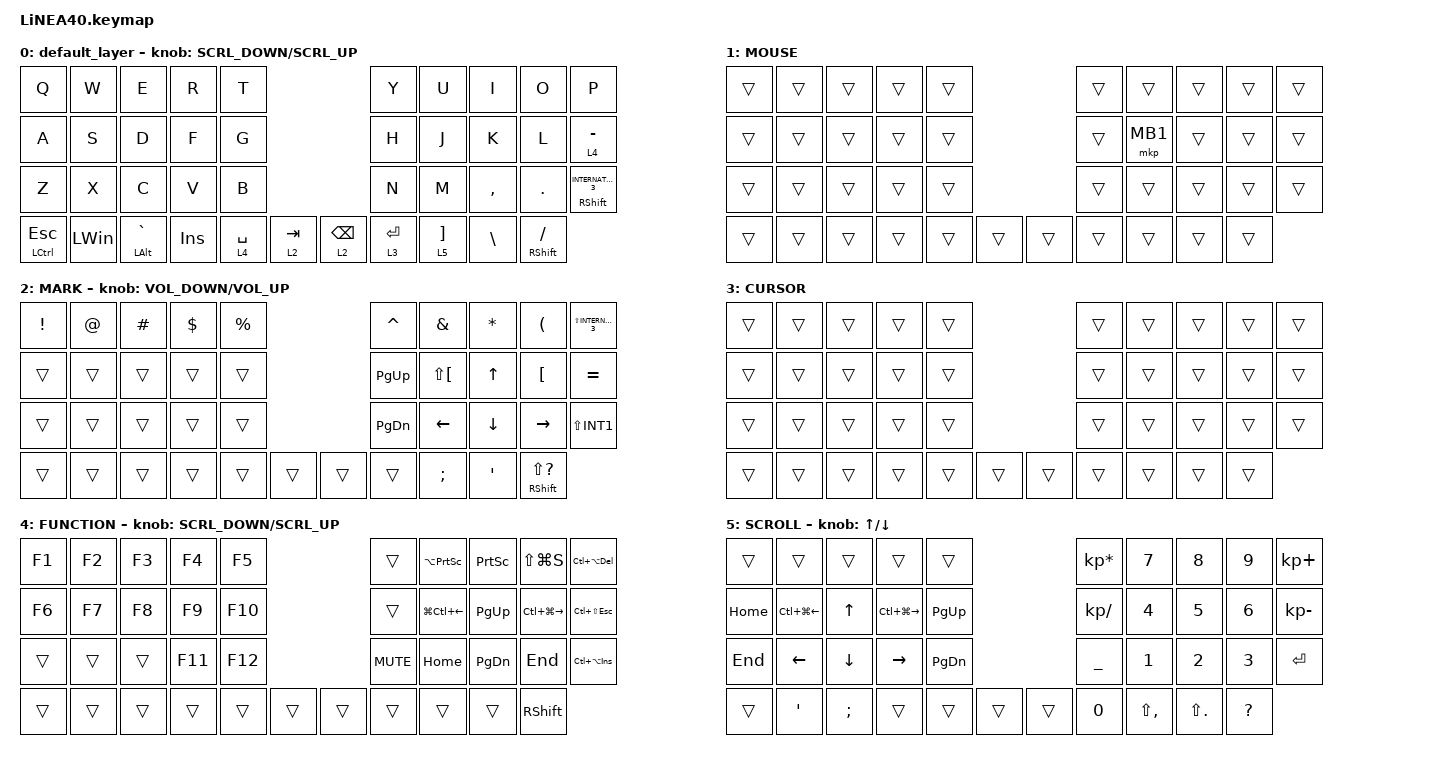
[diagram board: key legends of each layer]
#define ZMK_POINTING_DEFAULT_SCRL_VAL 150

#include <dt-bindings/zmk/input_transform.h>
#include <input/processors.dtsi>
#include <zephyr/dt-bindings/input/input-event-codes.h>
#include <behaviors.dtsi>
#include <dt-bindings/zmk/keys.h>
#include <dt-bindings/zmk/pointing.h>

#define MOUSE 1
#define MARK 2
#define CURSOR 3
#define FUNCTION 4
#define SCROLL 5
#define WIRELESS 6

//mouse cursol

&mmv {
    delay-ms = <20>;
    trigger-period-ms = <5>;
    time-to-max-speed-ms = <100>;
    acceleration-exponent = <2>;
};

//mouse scroll

&msc {
    delay-ms = <3>;
    trigger-period-ms = <3>;
    time-to-max-speed-ms = <100>;
    acceleration-exponent = <0>;
};

/ {
    input_processors {
        zip_wheel_scaler: zip_wheel_scaler {
            compatible = "zmk,input-processor-scaler";
            #input-processor-cells = <2>;
            type = <INPUT_EV_REL>;
            codes = <INPUT_REL_WHEEL>;
            track-remainders;
        };
    };
};

&msc_input_listener {
    speed_up {
        layers = <FUNCTION>;
        input-processors = <&zip_wheel_scaler 3 1>; //スクロールを3倍速にする
    };
};

&trackball_listener {
    scroller {
        layers = <SCROLL>;
        input-processors =
            <&zip_xy_transform INPUT_TRANSFORM_Y_INVERT>,
            //スクロール方向を逆転,,,,,,,,,,
            <&zip_xy_to_scroll_mapper>;
    };
};

/ {
    combos {
        compatible = "zmk,combos";

        ZenkakuHankaku {
            bindings = <&kp GRAVE>;
            key-positions = <11 12>;
        };

        DeleteKey {
            bindings = <&kp DEL>;
            key-positions = <7 8>;
        };

        InsertKey {
            bindings = <&kp INS>;
            key-positions = <6 7>;
        };

        CenterClick {
            bindings = <&mkp MB3>;
            key-positions = <17 16>;
        };

        RightClick {
            bindings = <&mkp MB2>;
            key-positions = <18 17>;
        };

        PrevClick {
            bindings = <&mkp MB4>;
            key-positions = <27 28>;
        };

        ClickNext {
            bindings = <&mkp MB5>;
            key-positions = <26 27>;
        };
    };

    behaviors {
        re_kp: sensor_rotate_kp {
            compatible = "zmk,behavior-sensor-rotate-var";
            #sensor-binding-cells = <2>;
            bindings = <&kp>, <&kp>;
        };

        mouse_scrl: mouse_wheel_scrl {
            compatible = "zmk,behavior-sensor-rotate-var";
            #sensor-binding-cells = <2>;
            bindings = <&msc>, <&msc>;

            tap-ms = <20>;
        };
    };

    keymap {
        compatible = "zmk,keymap";

        default_layer {
            bindings = <
&kp Q          &kp W         &kp E               &kp R    &kp T                                      &kp Y        &kp U  &kp I                &kp O          &kp P
&kp A          &kp S         &kp D               &kp F    &kp G                                      &kp H        &kp J  &kp K                &kp L          &lt 4 MINUS
&kp Z          &kp X         &kp C               &kp V    &kp B                                      &kp N        &kp M  &kp COMMA            &kp DOT        &mt RIGHT_SHIFT INTERNATIONAL_3
&mt LCTRL ESC  &kp LEFT_WIN  &mt LEFT_ALT GRAVE  &kp INS  &lt 4 SPACE  &lt 2 TAB    &lt 2 BACKSPACE  &lt 3 ENTER         &lt 5 RIGHT_BRACKET  &kp BACKSLASH  &mt RIGHT_SHIFT SLASH
            >;

            sensor-bindings = <&mouse_scrl SCRL_DOWN SCRL_UP>;
        };

        MOUSE {
            bindings = <
&trans  &trans  &trans  &trans  &trans                    &trans  &trans    &trans  &trans  &trans
&trans  &trans  &trans  &trans  &trans                    &trans  &mkp MB1  &trans  &trans  &trans
&trans  &trans  &trans  &trans  &trans                    &trans  &trans    &trans  &trans  &trans
&trans  &trans  &trans  &trans  &trans  &trans    &trans  &trans            &trans  &trans  &trans
            >;
        };

        MARK {
            bindings = <
&kp EXCLAMATION  &kp AT  &kp HASH  &kp DOLLAR  &kp PERCENT                    &kp CARET      &kp AMPERSAND   &kp ASTERISK   &kp LEFT_PARENTHESIS  &kp LS(INTERNATIONAL_3)
&trans           &trans  &trans    &trans      &trans                         &kp PG_UP      &kp LS(LBKT)    &kp UP_ARROW   &kp LEFT_BRACKET      &kp EQUAL
&trans           &trans  &trans    &trans      &trans                         &kp PAGE_DOWN  &kp LEFT_ARROW  &kp DOWN       &kp RIGHT             &kp LS(INT1)
&trans           &trans  &trans    &trans      &trans       &trans    &trans  &trans                         &kp SEMICOLON  &kp SQT               &mt RIGHT_SHIFT LS(QUESTION)
            >;

            sensor-bindings = <&re_kp C_VOLUME_DOWN C_VOLUME_UP>;
        };

        CURSOR {
            bindings = <
&trans  &trans  &trans  &trans  &trans                    &trans  &trans  &trans  &trans  &trans
&trans  &trans  &trans  &trans  &trans                    &trans  &trans  &trans  &trans  &trans
&trans  &trans  &trans  &trans  &trans                    &trans  &trans  &trans  &trans  &trans
&trans  &trans  &trans  &trans  &trans  &trans    &trans  &trans          &trans  &trans  &trans
            >;
        };

        FUNCTION {
            bindings = <
&kp F1  &kp F2  &kp F3  &kp F4   &kp F5                     &trans      &kp LA(PRINTSCREEN)  &kp PRINTSCREEN  &kp LS(LG(S))      &kp LC(LA(DELETE))
&kp F6  &kp F7  &kp F8  &kp F9   &kp F10                    &trans      &kp LG(LC(LEFT))     &kp PG_UP        &kp LC(LG(RIGHT))  &kp LC(LS(ESCAPE))
&trans  &trans  &trans  &kp F11  &kp F12                    &kp C_MUTE  &kp HOME             &kp PAGE_DOWN    &kp END            &kp LC(LA(INS))
&trans  &trans  &trans  &trans   &trans   &trans    &trans  &trans                           &trans           &trans             &kp RIGHT_SHIFT
            >;

            sensor-bindings = <&mouse_scrl SCRL_DOWN SCRL_UP>;
        };

        SCROLL {
            bindings = <
&trans    &trans                  &trans         &trans                   &trans                           &kp KP_MULTIPLY  &kp NUMBER_7  &kp NUMBER_8   &kp NUMBER_9  &kp KP_PLUS
&kp HOME  &kp LC(LG(LEFT_ARROW))  &kp UP_ARROW   &kp LC(LG(RIGHT_ARROW))  &kp PG_UP                        &kp KP_SLASH     &kp NUMBER_4  &kp NUMBER_5   &kp NUMBER_6  &kp KP_MINUS
&kp END   &kp LEFT                &kp DOWN       &kp RIGHT                &kp PAGE_DOWN                    &kp UNDER        &kp NUMBER_1  &kp NUMBER_2   &kp NUMBER_3  &kp ENTER
&trans    &kp SQT                 &kp SEMICOLON  &trans                   &trans         &trans    &trans  &kp NUMBER_0                   &kp LS(COMMA)  &kp LS(DOT)   &kp QUESTION
            >;

            sensor-bindings = <&inc_dec_kp UP_ARROW DOWN>;
        };
    };
};
